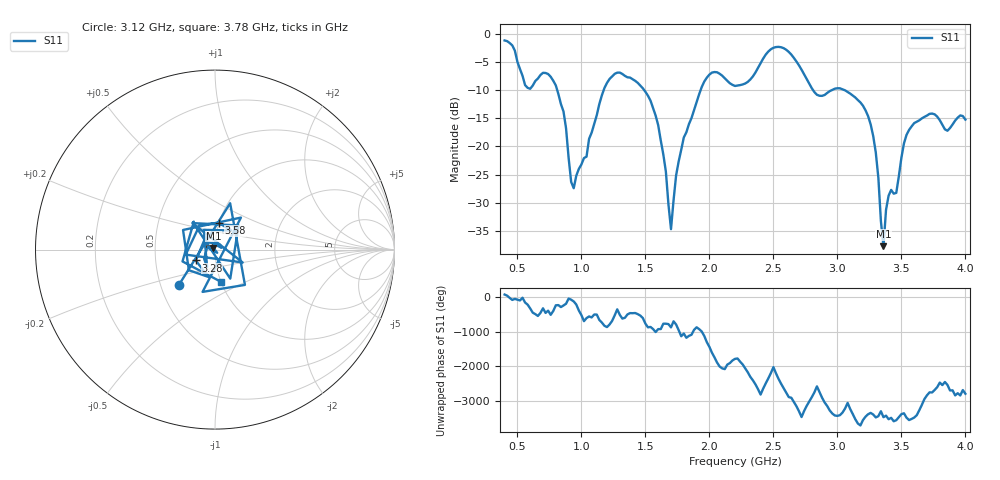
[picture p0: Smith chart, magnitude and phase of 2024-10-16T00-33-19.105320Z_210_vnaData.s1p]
! Created with skrf (http://scikit-rf.org).
# Hz S RI R 50.0
!freq ReS11 ImS11
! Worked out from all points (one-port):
!   181 points, 400 MHz to 4 GHz, reference 50 ohm
!   lowest |S11| = -37.7 dB at 3.36 GHz (marker M1), VSWR 1.03, Z = 49.1 + j0.945 ohm
!   |S11| at or under -10 dB: 811 MHz to 1.174 GHz (363.2 MHz wide, 36.6 % of centre); 1.49 GHz to 1.931 GHz (441.1 MHz wide, 25.8 % of centre); 3.055 GHz to end of sweep (the widest 3 of 4)
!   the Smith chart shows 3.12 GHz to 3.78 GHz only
!   S11 on the Smith chart (normalised r, x): 3.12 GHz: 0.62, -0.27; 3.28 GHz: 0.80, -0.10; 3.58 GHz: 1.00, +0.30; 3.78 GHz: 1.00, -0.37
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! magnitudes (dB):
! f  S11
! 400 MHz  -1.2
! 560 MHz  -9.1
! 740 MHz  -7.1
! 860 MHz  -13.8
! 940 MHz  -27.4
! 1.18 GHz  -9.6
! 1.3 GHz  -6.9
! 1.58 GHz  -14.5
! 1.66 GHz  -24.5
! 1.7 GHz  -34.7
! 1.76 GHz  -22.7
! 1.98 GHz  -7.8
! 2.2 GHz  -9.3
! 2.5 GHz  -2.5
! 2.66 GHz  -4.3
! 2.84 GHz  -10.8
! 3.1 GHz  -10.6
! 3.12 GHz  -11.0
! 3.28 GHz  -18.2
! 3.32 GHz  -25.6
! 3.36 GHz  -37.7
! 3.4 GHz  -28.8
! 3.46 GHz  -28.3
! 3.56 GHz  -17.1
! 3.58 GHz  -16.4
! 3.78 GHz  -14.7
! 3.86 GHz  -17.2
! 4 GHz  -15.2
